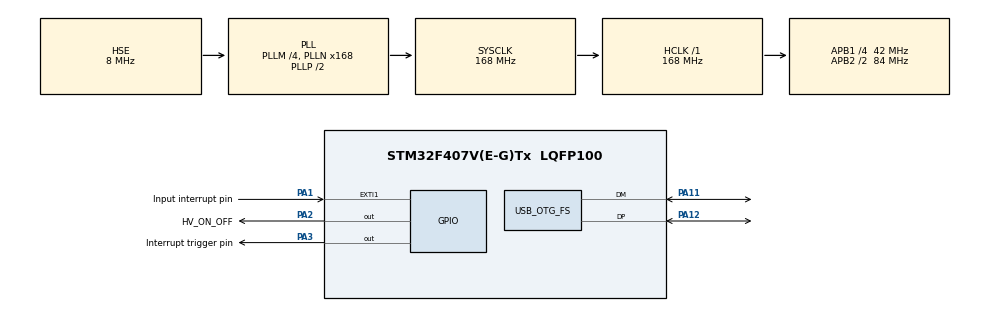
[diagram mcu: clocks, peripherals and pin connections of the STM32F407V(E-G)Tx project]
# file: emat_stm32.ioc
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Mcu.Family=STM32F4
Mcu.Name=STM32F407V(E-G)Tx
Mcu.Package=LQFP100
NVIC.OTG_FS_IRQn=true\:0\:0\:false\:false\:true
NVIC.PriorityGroup=NVIC_PRIORITYGROUP_4
NVIC.TIM6_DAC_IRQn=true\:0\:0\:false\:true\:true\:1
PA1.GPIO_Label=Input interrupt pin
PA1.GPIO_ModeDefaultEXTI=GPIO_MODE_IT_RISING
PA1.GPIO_PuPd=GPIO_PULLUP
PA1.Signal=GPXTI1
PA11.Mode=Device_Only
PA11.Signal=USB_OTG_FS_DM
PA12.Mode=Device_Only
PA12.Signal=USB_OTG_FS_DP
PA2.GPIO_Label=HV_ON_OFF
PA2.Signal=GPIO_Output
PA3.GPIO_Label=Interrupt trigger pin
PA3.PinState=GPIO_PIN_RESET
PA3.Signal=GPIO_Output
PH0-OSC_IN.Mode=HSE-External-Oscillator
PH0-OSC_IN.Signal=RCC_OSC_IN
PH1-OSC_OUT.Mode=HSE-External-Oscillator
PH1-OSC_OUT.Signal=RCC_OSC_OUT
ProjectManager.HeapSize=0x200
ProjectManager.StackSize=0x400
ProjectManager.TargetToolchain=SW4STM32
RCC.48MHZClocksFreq_Value=48000000
RCC.AHBFreq_Value=168000000
RCC.APB1CLKDivider=RCC_HCLK_DIV4
RCC.APB1Freq_Value=42000000
RCC.APB1TimCLKDivider=1
RCC.APB1TimFreq_Value=42000000
RCC.APB2CLKDivider=RCC_HCLK_DIV2
RCC.APB2Freq_Value=84000000
RCC.APB2TimCLKDivider=1
RCC.APB2TimFreq_Value=84000000
RCC.CortexFreq_Value=168000000
RCC.HCLKFreq_Value=168000000
RCC.HSE_VALUE=8000000
RCC.HSI_VALUE=16000000
RCC.LSE_VALUE=32768
RCC.PLLM=4
RCC.PLLN=168
RCC.PLLQ=7
RCC.SYSCLKFreq_VALUE=168000000
RCC.SYSCLKSource=RCC_SYSCLKSOURCE_PLLCLK
RCC.VCOOutputFreq_Value=336000000
TIM6.Period=42000
TIM6.Prescaler=1
TIM6.TIM_MasterOutputTrigger=TIM_TRGO_ENABLE
USB_DEVICE.CLASS_NAME-CDC_FS=CDC
USB_DEVICE.CLASS_NAME_FS=CDC
USB_DEVICE.USBD_HandleTypeDef-CDC_FS=hUsbDeviceFS
USB_DEVICE.VirtualMode-CDC_FS=Cdc
USB_DEVICE.VirtualModeFS=Cdc_FS
USB_OTG_FS.VirtualMode=Device_Only
VP_TIM6_VS_ClockSourceINT.Mode=Enable_Timer
VP_USB_DEVICE_VS_USB_DEVICE_CDC_FS.Mode=CDC_FS
board=emat_stm32

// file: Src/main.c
/**
  ******************************************************************************
  * File Name          : main.c
  * Description        : Main program body
  ******************************************************************************
  *
  * COPYRIGHT(c) 2016 STMicroelectronics
  *
  * Redistribution and use in source and binary forms, with or without modification,
  * are permitted provided that the following conditions are met:
  *   1. Redistributions of source code must retain the above copyright notice,
  *      this list of conditions and the following disclaimer.
  *   2. Redistributions in binary form must reproduce the above copyright notice,
  *      this list of conditions and the following disclaimer in the documentation
  *      and/or other materials provided with the distribution.
  *   3. Neither the name of STMicroelectronics nor the names of its contributors
  *      may be used to endorse or promote products derived from this software
  *      without specific prior written permission.
  *
  * THIS SOFTWARE IS PROVIDED BY THE COPYRIGHT HOLDERS AND CONTRIBUTORS "AS IS"
  * AND ANY EXPRESS OR IMPLIED WARRANTIES, INCLUDING, BUT NOT LIMITED TO, THE
  * IMPLIED WARRANTIES OF MERCHANTABILITY AND FITNESS FOR A PARTICULAR PURPOSE ARE
  * DISCLAIMED. IN NO EVENT SHALL THE COPYRIGHT HOLDER OR CONTRIBUTORS BE LIABLE
  * FOR ANY DIRECT, INDIRECT, INCIDENTAL, SPECIAL, EXEMPLARY, OR CONSEQUENTIAL
  * DAMAGES (INCLUDING, BUT NOT LIMITED TO, PROCUREMENT OF SUBSTITUTE GOODS OR
  * SERVICES; LOSS OF USE, DATA, OR PROFITS; OR BUSINESS INTERRUPTION) HOWEVER
  * CAUSED AND ON ANY THEORY OF LIABILITY, WHETHER IN CONTRACT, STRICT LIABILITY,
  * OR TORT (INCLUDING NEGLIGENCE OR OTHERWISE) ARISING IN ANY WAY OUT OF THE USE
  * OF THIS SOFTWARE, EVEN IF ADVISED OF THE POSSIBILITY OF SUCH DAMAGE.
  *
  ******************************************************************************
  */
#include "stm32f4xx_hal.h"
#include "usb_device.h"

/* USER CODE BEGIN Includes */
#include "src/microrl.h"
#include "event_queue.h"
#include "timer.h"
#include "stm32_microrl_misc.h"
/* USER CODE END Includes */

TIM_HandleTypeDef htim6;

/* USER CODE BEGIN PV */
/* Private variables ---------------------------------------------------------*/
TIM_HandleTypeDef htim1;
//static uint32_t timer_counter;
static uint32_t last_offset=13702;
static uint32_t last_width=34;
typedef enum e_hv_state_TAG{
	HV_STATE_OFF,
	HV_STATE_ON,
	} e_hv_state;
static e_hv_state hv_state = HV_STATE_OFF;
typedef enum e_ext_int_state_TAG{
	EXT_INT_STATE_IDLE,
	EXT_INT_STATE_TRIGGERED,
	EXT_INT_STATE_DELAY_BEFORE_ON,
	EXT_INT_STATE_DELAY_BEFORE_OFF,
	} e_ext_int_state;
static e_ext_int_state ext_int_state = EXT_INT_STATE_IDLE;
/* USER CODE END PV */

void SystemClock_Config(void);
static void MX_GPIO_Init(void);
static void MX_TIM6_Init(void);
void MX_NVIC_Init(void);

/* USER CODE BEGIN PFP */
/* Private function prototypes -----------------------------------------------*/
static void MX_TIM1_Init(uint32_t period, uint32_t pulse);

/* USER CODE END PFP */

/* USER CODE BEGIN 0 */
void HAL_GPIO_EXTI_Callback(uint16_t GPIO_Pin)
{
//	char str[16] = {0,};
//	snprintf (str, 16, "cnt=0x%08X", (unsigned)timer_counter);
//	print(str);
	ext_int_state = EXT_INT_STATE_TRIGGERED;
}

void ExtIntTask(eq_queue_element_s *pEvent)
{
	static e_ext_int_state state = EXT_INT_STATE_IDLE;
	HAL_NVIC_DisableIRQ(EXTI1_IRQn);
	if (EXT_INT_STATE_TRIGGERED == ext_int_state){
		state = EXT_INT_STATE_TRIGGERED;
		ext_int_state = EXT_INT_STATE_IDLE;
	}
	HAL_NVIC_EnableIRQ(EXTI1_IRQn);

	if (EXT_INT_STATE_TRIGGERED == state){
		TIMER_Start(1, 5);
		state = EXT_INT_STATE_DELAY_BEFORE_ON;
	} else if (EXT_INT_STATE_DELAY_BEFORE_ON == state){
		if (TIMER1_EXPIRED == pEvent->event){
			if (HV_STATE_ON == hv_state) {
//				HAL_GPIO_WritePin(Interrupt_trigger_pin_GPIO_Port, Interrupt_trigger_pin_Pin, GPIO_PIN_SET);
				HAL_GPIO_WritePin(HV_ON_OFF_GPIO_Port, HV_ON_OFF_Pin, GPIO_PIN_SET);
			}
			TIMER_Start(1, 90);
			state = EXT_INT_STATE_DELAY_BEFORE_OFF;
		}
	} else if (EXT_INT_STATE_DELAY_BEFORE_OFF == state) {
		if (TIMER1_EXPIRED == pEvent->event){
//			HAL_GPIO_WritePin(Interrupt_trigger_pin_GPIO_Port, Interrupt_trigger_pin_Pin, GPIO_PIN_RESET);
			HAL_GPIO_WritePin(HV_ON_OFF_GPIO_Port, HV_ON_OFF_Pin, GPIO_PIN_RESET);
			state = EXT_INT_STATE_IDLE;
		}
	}

}

void EventQueueIsFull(void)
{
	print("Error! EQ is Full!");
	for(;;);
}
/* USER CODE END 0 */

int main(void)
{

  /* USER CODE BEGIN 1 */
	eq_queue_element_s ev;
  /* USER CODE END 1 */

  /* MCU Configuration----------------------------------------------------------*/

  /* Reset of all peripherals, Initializes the Flash interface and the Systick. */
  HAL_Init();

  /* Configure the system clock */
  SystemClock_Config();

  /* Initialize all configured peripherals */
  MX_GPIO_Init();
  MX_USB_DEVICE_Init();
  MX_TIM6_Init();

  /* Initialize interrupts */
  MX_NVIC_Init();

  /* USER CODE BEGIN 2 */
//  MX_TIM1_Init(34034, 34);
  MX_TIM1_Init(last_offset+last_width, last_offset);
//  MX_TIM1_Init(13701, 13702);

	/* Tell system that you will use PD0 for EXTI_Line0 */
  /* Enable and set EXTI Line0 Interrupt to the lowest priority */

  HAL_NVIC_SetPriority(EXTI1_IRQn, 2, 0);
  HAL_NVIC_EnableIRQ(EXTI1_IRQn);

  init();
  HAL_TIM_Base_Start_IT(&htim6);
  HAL_TIM_OnePulse_Start(&htim1,TIM_CHANNEL_2);

  EQ_RegisterErrorCalback(EventQueueIsFull);
//  TIMER_StartAuto(1, 10);
  /* USER CODE END 2 */

  /* Infinite loop */
  while (1)
  {

  /* USER CODE BEGIN 3 */
	  TERM_Task();
	  TIMER_Task();
	  do {
		  EQ_GetEvent(&ev);
		  ExtIntTask(&ev);
		  switch(ev.event){
		  case NO_EVENT:
			  break;
		  case CMD_WIDTH:
			  //TIMER_StartAuto(1, ev.param.uiParam);
			  last_width = ev.param.uiParam;
			  TIM1->ARR = last_width+last_offset;
			  break;
		  case CMD_OFFSET:
			  last_offset = ev.param.uiParam*34;
			  TIM1->CCR1 = last_offset;
			  TIM1->ARR = last_width+last_offset;
//			  HAL_TIM_OnePulse_Stop(&htim1,TIM_CHANNEL_2);
//			  sConfig.OCMode = TIM_OCMODE_PWM2;
//			  sConfig.OCPolarity = TIM_OCPOLARITY_HIGH;
//			  sConfig.Pulse = ev.param.uiParam*34;
//			  sConfig.ICPolarity = TIM_ICPOLARITY_RISING;
//			  sConfig.ICSelection = TIM_ICSELECTION_DIRECTTI;
//			  sConfig.ICFilter = 0;
//			  HAL_TIM_OnePulse_ConfigChannel(&htim1, &sConfig, TIM_CHANNEL_1, TIM_CHANNEL_2);
//			  HAL_TIM_OnePulse_Start(&htim1,TIM_CHANNEL_2);
			  break;
//		  case TIMER1_EXPIRED:
//			  HAL_GPIO_TogglePin(Interrupt_trigger_pin_GPIO_Port, Interrupt_trigger_pin_Pin);
//			  break;
		  case CMD_HV_ON:
//			  HAL_GPIO_WritePin(HV_ON_OFF_GPIO_Port, HV_ON_OFF_Pin, GPIO_PIN_SET);
			  hv_state = HV_STATE_ON;
			  break;
		  case CMD_HV_OFF:
			  HAL_GPIO_WritePin(HV_ON_OFF_GPIO_Port, HV_ON_OFF_Pin, GPIO_PIN_RESET);
			  hv_state = HV_STATE_OFF;
			  break;
		  default:
			  break;
		  }
	  } while (ev.event != NO_EVENT);

//	  HAL_GPIO_WritePin(Interrupt_trigger_pin_GPIO_Port, Interrupt_trigger_pin_Pin, GPIO_PIN_SET);
//	  HAL_Delay(100);
  }
  /* USER CODE END 3 */

}

/** System Clock Configuration
*/
void SystemClock_Config(void)
{

  RCC_OscInitTypeDef RCC_OscInitStruct;
  RCC_ClkInitTypeDef RCC_ClkInitStruct;

  __HAL_RCC_PWR_CLK_ENABLE();

  __HAL_PWR_VOLTAGESCALING_CONFIG(PWR_REGULATOR_VOLTAGE_SCALE1);

  RCC_OscInitStruct.OscillatorType = RCC_OSCILLATORTYPE_HSE;
  RCC_OscInitStruct.HSEState = RCC_HSE_ON;
  RCC_OscInitStruct.PLL.PLLState = RCC_PLL_ON;
  RCC_OscInitStruct.PLL.PLLSource = RCC_PLLSOURCE_HSE;
  RCC_OscInitStruct.PLL.PLLM = 4;
  RCC_OscInitStruct.PLL.PLLN = 168;
  RCC_OscInitStruct.PLL.PLLP = RCC_PLLP_DIV2;
  RCC_OscInitStruct.PLL.PLLQ = 7;
  HAL_RCC_OscConfig(&RCC_OscInitStruct);

  RCC_ClkInitStruct.ClockType = RCC_CLOCKTYPE_HCLK|RCC_CLOCKTYPE_SYSCLK
                              |RCC_CLOCKTYPE_PCLK1|RCC_CLOCKTYPE_PCLK2;
  RCC_ClkInitStruct.SYSCLKSource = RCC_SYSCLKSOURCE_PLLCLK;
  RCC_ClkInitStruct.AHBCLKDivider = RCC_SYSCLK_DIV1;
  RCC_ClkInitStruct.APB1CLKDivider = RCC_HCLK_DIV4;
  RCC_ClkInitStruct.APB2CLKDivider = RCC_HCLK_DIV2;
  HAL_RCC_ClockConfig(&RCC_ClkInitStruct, FLASH_LATENCY_5);

  HAL_SYSTICK_Config(HAL_RCC_GetHCLKFreq()/1000);

  HAL_SYSTICK_CLKSourceConfig(SYSTICK_CLKSOURCE_HCLK);

  /* SysTick_IRQn interrupt configuration */
  HAL_NVIC_SetPriority(SysTick_IRQn, 0, 0);
}

/** NVIC Configuration
*/
void MX_NVIC_Init(void)
{
  /* TIM6_DAC_IRQn interrupt configuration */
  HAL_NVIC_SetPriority(TIM6_DAC_IRQn, 0, 0);
  HAL_NVIC_EnableIRQ(TIM6_DAC_IRQn);
}

/* TIM6 init function */
void MX_TIM6_Init(void)
{

  TIM_MasterConfigTypeDef sMasterConfig;

  htim6.Instance = TIM6;
  htim6.Init.Prescaler = 1;
  htim6.Init.CounterMode = TIM_COUNTERMODE_UP;
  htim6.Init.Period = 42000;
  HAL_TIM_Base_Init(&htim6);

  sMasterConfig.MasterOutputTrigger = TIM_TRGO_ENABLE;
  sMasterConfig.MasterSlaveMode = TIM_MASTERSLAVEMODE_DISABLE;
  HAL_TIMEx_MasterConfigSynchronization(&htim6, &sMasterConfig);

}

/** Configure pins as
        * Analog
        * Input
        * Output
        * EVENT_OUT
        * EXTI
*/
void MX_GPIO_Init(void)
{

  GPIO_InitTypeDef GPIO_InitStruct;

  /* GPIO Ports Clock Enable */
  __HAL_RCC_GPIOH_CLK_ENABLE();
  __HAL_RCC_GPIOA_CLK_ENABLE();

  /*Configure GPIO pin : Input_interrupt_pin_Pin */
  GPIO_InitStruct.Pin = Input_interrupt_pin_Pin;
  GPIO_InitStruct.Mode = GPIO_MODE_IT_RISING;
  GPIO_InitStruct.Pull = GPIO_PULLUP;
  HAL_GPIO_Init(Input_interrupt_pin_GPIO_Port, &GPIO_InitStruct);

  /*Configure GPIO pins : HV_ON_OFF_Pin Interrupt_trigger_pin_Pin */
  GPIO_InitStruct.Pin = HV_ON_OFF_Pin|Interrupt_trigger_pin_Pin;
  GPIO_InitStruct.Mode = GPIO_MODE_OUTPUT_PP;
  GPIO_InitStruct.Pull = GPIO_NOPULL;
  GPIO_InitStruct.Speed = GPIO_SPEED_FREQ_LOW;
  HAL_GPIO_Init(GPIOA, &GPIO_InitStruct);

  /*Configure GPIO pin Output Level */
  HAL_GPIO_WritePin(GPIOA, HV_ON_OFF_Pin|Interrupt_trigger_pin_Pin, GPIO_PIN_RESET);

}

/* USER CODE BEGIN 4 */
/* TIM1 init function */
void MX_TIM1_Init(uint32_t period, uint32_t pulse)
{
  TIM_OnePulse_InitTypeDef sConfig;

  htim1.Instance = TIM1;
  htim1.Init.Prescaler = 4;
  htim1.Init.CounterMode = TIM_COUNTERMODE_UP;
  htim1.Init.Period = period;
  htim1.Init.ClockDivision = TIM_CLOCKDIVISION_DIV1;
  HAL_TIM_OnePulse_Init(&htim1, TIM_OPMODE_SINGLE);
  /*##-2- Configure the Channel 1 in One Pulse mode ##########################*/
  sConfig.OCMode = TIM_OCMODE_PWM2;
  sConfig.OCPolarity = TIM_OCPOLARITY_HIGH;
  sConfig.Pulse = pulse;
  sConfig.ICPolarity = TIM_ICPOLARITY_RISING;
  sConfig.ICSelection = TIM_ICSELECTION_DIRECTTI;
  sConfig.ICFilter = 0;

  HAL_TIM_OnePulse_ConfigChannel(&htim1, &sConfig, TIM_CHANNEL_1, TIM_CHANNEL_2);
}

/* USER CODE END 4 */

/************************ (C) COPYRIGHT STMicroelectronics *****END OF FILE****/
